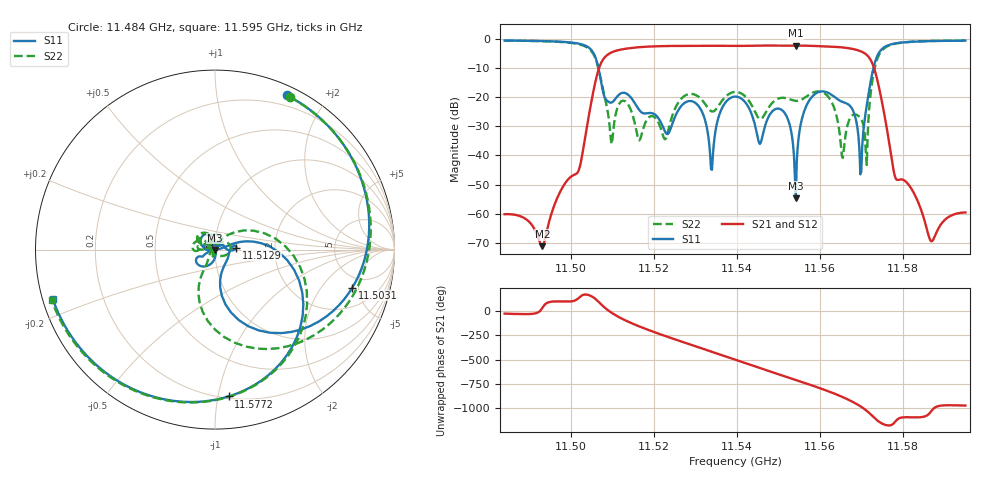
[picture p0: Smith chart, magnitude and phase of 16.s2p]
# Hz S DB R 50
! Planar, S50244, 24171007, 25.4.1/6
! Date: 30.10.2025 10:41:32
! Data: Format (Calibration Info)
! Freq	S11:dB/Ang(F2)	S21:dB/Ang(F2)	S12:dB/Ang(F2)	S22:dB/Ang(F2)
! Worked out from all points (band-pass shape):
!   501 points, 11.484 GHz to 11.595 GHz, reference 50 ohm
!   highest |S21| = -2.17 dB at 11.5542 GHz (marker M1); lowest = -71.2 dB at 11.4931 GHz (marker M2)
!   |S21| within 3 dB of the highest: 11.509 GHz to 11.571 GHz (62.08 MHz wide, 0.538 % of centre)
!   lowest |S11| = -54.7 dB at 11.5542 GHz (marker M3), VSWR 1.00, Z = 50 - j0.185 ohm
!   |S11| at or under -10 dB: 11.5066 GHz to 11.5728 GHz (66.22 MHz wide, 0.574 % of centre)
!   |S22| runs from -43.3 to -0.4 dB; largest |S21 - S12| = 0.0076
!   S11 on the Smith chart (normalised r, x): 11.484 GHz: 0.09, +1.57; 11.5031 GHz: 3.71, -4.24; 11.5129 GHz: 1.27, +0.03; 11.5772 GHz: 0.21, -1.07; 11.595 GHz: 0.03, -0.15
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1.1484e10  -0.47 65.0  -60.21 -27.4  -60.29 -26.3  -0.47 63.9
1.14931e10  -0.64 43.6  -71.21 31.7  -71.24 32.3  -0.68 39.6
1.150265e10  -1.80 -10.3  -40.21 159.3  -40.13 159.4  -2.03 -24.1
1.150309e10  -2.00 -15.4  -36.45 166.6  -36.36 166.6  -2.26 -30.2
1.150975e10  -21.78 -10.4  -4.54 -18.1  -4.58 -18.3  -36.11 152.0
1.151286e10  -18.45 5.5  -3.34 -92.2  -3.34 -92.2  -21.23 1.9
1.152107e10  -27.21 33.7  -2.40 126.9  -2.43 126.8  -28.72 87.8
1.152995e10  -21.90 75.5  -2.29 -2.3  -2.36 -2.4  -19.15 121.7
1.153395e10  -44.94 143.5  -2.26 -59.9  -2.29 -60.0  -24.85 131.4
1.15395e10  -19.73 131.3  -2.32 -140.1  -2.39 -140.4  -18.13 139.2
1.154771e10  -26.36 -179.3  -2.20 102.0  -2.23 101.8  -23.29 -179.8
1.155193e10  -26.54 137.0  -2.19 42.7  -2.26 42.5  -20.33 168.5
1.155415e10  -54.67 -88.6  -2.17 11.3  -2.25 11.2  -21.21 173.4
1.155815e10  -19.66 -117.6  -2.29 -46.6  -2.34 -46.7  -18.48 -179.0
1.156547e10  -21.59 -152.0  -2.84 -165.5  -2.86 -165.4  -40.83 -152.4
1.156991e10  -45.61 -14.4  -4.22 94.9  -4.25 94.8  -27.53 -112.0
1.157125e10  -22.68 16.6  -5.42 53.5  -5.46 53.6  -43.28 116.1
1.157302e10  -8.91 -2.6  -10.05 -15.7  -10.05 -15.0  -10.69 18.0
1.157657e10  -1.99 -76.6  -35.01 -96.3  -34.84 -96.5  -2.19 -70.3
1.157724e10  -1.71 -84.7  -41.11 -90.1  -40.95 -90.6  -1.85 -79.5
1.158679e10  -0.64 -142.0  -69.53 51.1  -69.54 49.6  -0.59 -141.3
1.1595e10  -0.49 -163.2  -59.59 108.0  -59.68 106.5  -0.42 -163.0
